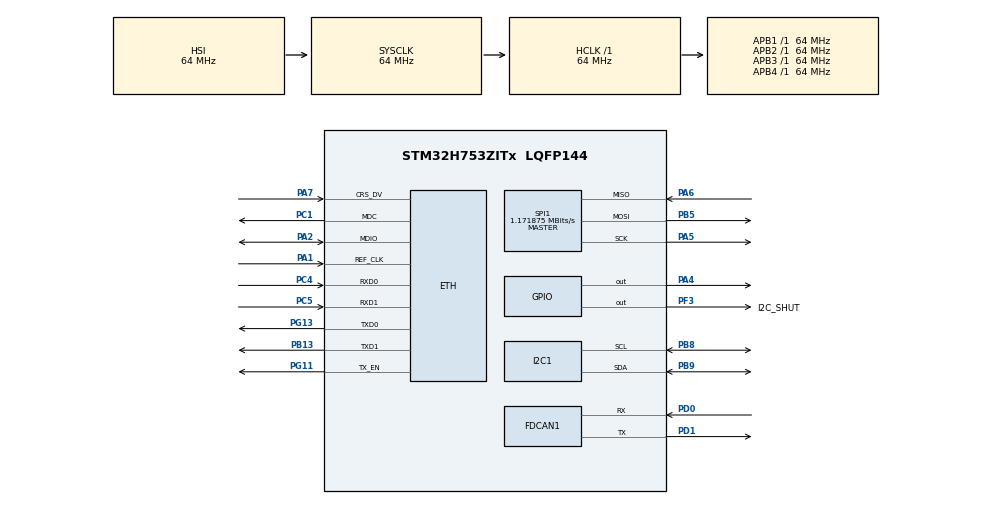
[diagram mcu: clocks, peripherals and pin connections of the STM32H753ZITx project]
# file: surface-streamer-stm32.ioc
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CORTEX_M7.AccessPermission_S-Cortex_Memory_Protection_Unit_Region1_Settings_S=MPU_REGION_FULL_ACCESS
CORTEX_M7.BaseAddress_S-Cortex_Memory_Protection_Unit_Region1_Settings_S=0x30000000
CORTEX_M7.CPU_DCache=Disabled
CORTEX_M7.CPU_ICache=Disabled
CORTEX_M7.DisableExec_S-Cortex_Memory_Protection_Unit_Region1_Settings_S=MPU_INSTRUCTION_ACCESS_DISABLE
CORTEX_M7.Enable_S-Cortex_Memory_Protection_Unit_Region1_Settings_S=MPU_REGION_ENABLE
CORTEX_M7.IsBufferable_S-Cortex_Memory_Protection_Unit_Region1_Settings_S=MPU_ACCESS_NOT_BUFFERABLE
CORTEX_M7.IsShareable_S-Cortex_Memory_Protection_Unit_Region1_Settings_S=MPU_ACCESS_SHAREABLE
CORTEX_M7.MPU_Control=MPU_PRIVILEGED_DEFAULT
CORTEX_M7.Size_S-Cortex_Memory_Protection_Unit_Region1_Settings_S=MPU_REGION_SIZE_32KB
CORTEX_M7.TypeExtField_S-Cortex_Memory_Protection_Unit_Region1_Settings_S=MPU_TEX_LEVEL1
CORTEX_M7.default_mode_Activation=1
ETH.MediaInterface=HAL_ETH_RMII_MODE
FDCAN1.CalculateBaudRateNominal=1562500
FDCAN1.CalculateTimeBitNominal=640
FDCAN1.CalculateTimeQuantumNominal=213.33333333333334
LWIP.BSP.number=1
LWIP.IP_ADDRESS=192.168.010.002
LWIP.LWIP_DHCP=0
LWIP.NETMASK_ADDRESS=255.255.255.000
LWIP.Version=v2.2.1_Cube
LWIP0.BSP.STBoard=false
LWIP0.BSP.api=BSP_COMPONENT_DRIVER
LWIP0.BSP.component=LAN8742
LWIP0.BSP.instance=LAN8742
LWIP0.BSP.name=Driver_PHY
LWIP0.BSP.semaphore=S_LAN8742
LWIP0.BSP.solution=LAN8742
Mcu.Family=STM32H7
Mcu.Name=STM32H753ZITx
Mcu.Package=LQFP144
NUCLEO-H753ZI.BUTTON=1
NUCLEO-H753ZI.LD1=true
NUCLEO-H753ZI.LD2=true
NUCLEO-H753ZI.LD3=true
NUCLEO-H753ZI.VCP=true
NVIC.EXTI15_10_IRQn=true\:0\:0\:false\:false\:true\:false\:true\:true
NVIC.PriorityGroup=NVIC_PRIORITYGROUP_4
PA1.Mode=RMII
PA1.Signal=ETH_REF_CLK
PA2.Mode=RMII
PA2.Signal=ETH_MDIO
PA4.PinState=GPIO_PIN_SET
PA4.Signal=GPIO_Output
PA5.Mode=Full_Duplex_Master
PA5.Signal=SPI1_SCK
PA6.Mode=Full_Duplex_Master
PA6.Signal=SPI1_MISO
PA7.Mode=RMII
PA7.Signal=ETH_CRS_DV
PB13.Mode=RMII
PB13.Signal=ETH_TXD1
PB5.Mode=Full_Duplex_Master
PB5.Signal=SPI1_MOSI
PB8.GPIO_Pu=GPIO_PULLUP
PB8.Mode=I2C
PB8.Signal=I2C1_SCL
PB9.GPIO_Pu=GPIO_PULLUP
PB9.Mode=I2C
PB9.Signal=I2C1_SDA
PC1.Mode=RMII
PC1.Signal=ETH_MDC
PC14-OSC32_IN\ (OSC32_IN).Signal=RCC_OSC32_IN
PC15-OSC32_OUT\ (OSC32_OUT).Signal=RCC_OSC32_OUT
PC4.Mode=RMII
PC4.Signal=ETH_RXD0
PC5.Mode=RMII
PC5.Signal=ETH_RXD1
PD0.Mode=FDCAN_Activate
PD0.Signal=FDCAN1_RX
PD1.Mode=FDCAN_Activate
PD1.Signal=FDCAN1_TX
PD8.Signal=USART3_TX
PD9.Signal=USART3_RX
PF3.GPIO_Label=I2C_SHUT
PF3.PinState=GPIO_PIN_SET
PF3.Signal=GPIO_Output
PG11.Mode=RMII
PG11.Signal=ETH_TX_EN
PG13.Mode=RMII
PG13.Signal=ETH_TXD0
PH0-OSC_IN\ (PH0).Signal=RCC_OSC_IN
PH1-OSC_OUT\ (PH1).Signal=RCC_OSC_OUT
ProjectManager.HeapSize=0x200
ProjectManager.StackSize=0x400
ProjectManager.TargetToolchain=CMake
RCC.ADCFreq_Value=129000000
RCC.APB1Freq_Value=64000000
RCC.APB2Freq_Value=64000000
RCC.APB3Freq_Value=64000000
RCC.APB4Freq_Value=64000000
RCC.CortexFreq_Value=64000000
RCC.DIVM1=4
RCC.DIVN1=9
RCC.HCLKFreq_Value=64000000
RCC.HSE_VALUE=8000000
RCC.PLLFRACN=3072
RCC.PWR_Regulator_Voltage_Scale=PWR_REGULATOR_VOLTAGE_SCALE2
RCC.SYSCLKFreq_VALUE=64000000
RCC.USBFreq_Value=75000000
SPI1.BaudRatePrescaler=SPI_BAUDRATEPRESCALER_64
SPI1.CalculateBaudRate=1.171875 MBits/s
SPI1.DataSize=SPI_DATASIZE_8BIT
SPI1.Direction=SPI_DIRECTION_2LINES
SPI1.Mode=SPI_MODE_MASTER
SPI1.VirtualType=VM_MASTER
VP_LWIP_VS_Enabled.Mode=Enabled
VP_MEMORYMAP_VS_MEMORYMAP.Mode=CurAppReg
VP_NUCLEO-H753ZI_VS_BSP_COMMON.Mode=COMMON
board=NUCLEO-H753ZI

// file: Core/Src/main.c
/* USER CODE BEGIN Header */
/**
  ******************************************************************************
  * @file           : main.c
  * @brief          : Main program body
  ******************************************************************************
  * @attention
  *
  * Copyright (c) 2026 STMicroelectronics.
  * All rights reserved.
  *
  * This software is licensed under terms that can be found in the LICENSE file
  * in the root directory of this software component.
  * If no LICENSE file comes with this software, it is provided AS-IS.
  *
  ******************************************************************************
  */
/* USER CODE END Header */
#include "main.h"
#include "lwip.h"

/* USER CODE BEGIN Includes */
#include <string.h>
#include <stdio.h>
#include "VL53L1X_api.h"
#include "bmi270_port.h"
#include "lwip/ip4_addr.h"
#include "lwip/udp.h"
#include "lwip/tcp.h"
extern struct netif gnetif;

/* USER CODE END Includes */

/* USER CODE BEGIN PFP */

static void TCP_Connect(void);
static void TCP_SendReady(void);
static void UDP_SendReady(void);

static err_t TCP_ConnectedCallback(
    void *arg,
    struct tcp_pcb *tpcb,
    err_t err
);

static err_t TCP_RecvCallback(
    void *arg,
    struct tcp_pcb *tpcb,
    struct pbuf *p,
    err_t err
);

static void TCP_ErrorCallback(
    void *arg,
    err_t err
);

/* USER CODE END PFP */

COM_InitTypeDef BspCOMInit;

FDCAN_HandleTypeDef hfdcan1;

I2C_HandleTypeDef hi2c1;

SPI_HandleTypeDef hspi1;

/* USER CODE BEGIN PV */
uint8_t vl53_status = 0;
int8_t bmi270_rslt;

struct bmi2_dev bmi270_dev;
static struct udp_pcb *udp_pcb;
static struct tcp_pcb *tcp_pcb;

static uint8_t tcp_connected = 0;
static FDCAN_RxHeaderTypeDef canRxHeader;
static uint8_t canRxData[8];

typedef struct
{
    uint8_t detected;

    int16_t acc_x;
    int16_t acc_y;
    int16_t acc_z;

    int16_t gyr_x;
    int16_t gyr_y;
    int16_t gyr_z;

    uint32_t sample_count;
    uint32_t error_count;
    uint32_t last_sample_ms;
} BMI270_State;

static BMI270_State bmi270_state = {0};

typedef struct
{
    uint8_t detected;

    uint16_t distance_mm;

    uint32_t sample_count;
    uint32_t error_count;
    uint32_t last_sample_ms;
} VL53L1X_State;

static VL53L1X_State vl53l1x_state = {0};

/* USER CODE END PV */

void SystemClock_Config(void);
static void MPU_Config(void);
static void MX_GPIO_Init(void);
static void MX_I2C1_Init(void);
static void MX_SPI1_Init(void);
static void MX_FDCAN1_Init(void);

/* USER CODE BEGIN 0 */

static int I2C_SensorDetected(void)
{
  hi2c1.Instance->ICR =
      I2C_ICR_NACKCF |
      I2C_ICR_STOPCF |
      I2C_ICR_BERRCF |
      I2C_ICR_ARLOCF;

  hi2c1.Instance->CR2 =
      (0x29 << 1) |
      I2C_CR2_AUTOEND |
      I2C_CR2_START;

  HAL_Delay(2);

  uint32_t isr = hi2c1.Instance->ISR;
  int detected = ((isr & I2C_ISR_NACKF) == 0);

  hi2c1.Instance->ICR =
      I2C_ICR_NACKCF |
      I2C_ICR_STOPCF |
      I2C_ICR_BERRCF |
      I2C_ICR_ARLOCF;

  return detected;
}

static int8_t BMI270_EnableAccelGyro(void)
{
    int8_t rslt;
    uint8_t sensors[2] = {
        BMI2_ACCEL,
        BMI2_GYRO
    };

    rslt = bmi2_sensor_enable(
        sensors,
        2,
        &bmi270_dev
    );

    return rslt;
}

static void VL53L1X_Update(void)
{
    uint16_t distance = 0;
    uint8_t dataReady = 0;

    if (!I2C_SensorDetected())
    {
        vl53l1x_state.detected = 0;
        vl53l1x_state.error_count++;
        vl53l1x_state.last_sample_ms = HAL_GetTick();
        return;
    }

    vl53l1x_state.detected = 1;

    if (vl53_status &&
        VL53L1X_CheckForDataReady(
            0x52,
            &dataReady
        ) == 0 &&
        dataReady)
    {
        if (VL53L1X_GetDistance(
                0x52,
                &distance
            ) == 0)
        {
            VL53L1X_ClearInterrupt(0x52);

            vl53l1x_state.distance_mm = distance;
            vl53l1x_state.sample_count++;
        }
        else
        {
            vl53l1x_state.error_count++;
        }
    }

    vl53l1x_state.last_sample_ms = HAL_GetTick();
}

static void BMI270_Update(void)
{
    struct bmi2_sens_data sensor_data;

    int8_t rslt = bmi2_get_sensor_data(
        &sensor_data,
        &bmi270_dev
    );

    if (rslt == BMI2_OK)
    {
        bmi270_state.acc_x = sensor_data.acc.x;
        bmi270_state.acc_y = sensor_data.acc.y;
        bmi270_state.acc_z = sensor_data.acc.z;

        bmi270_state.gyr_x = sensor_data.gyr.x;
        bmi270_state.gyr_y = sensor_data.gyr.y;
        bmi270_state.gyr_z = sensor_data.gyr.z;

        bmi270_state.sample_count++;
        bmi270_state.detected = 1;
    }
    else
    {
        bmi270_state.error_count++;
        bmi270_state.detected = 0;
    }

    bmi270_state.last_sample_ms = HAL_GetTick();
}
/* USER CODE END 0 */
int main(void)
{

  /* MPU Configuration--------------------------------------------------------*/
  MPU_Config();

  /* MCU Configuration--------------------------------------------------------*/

  /* Reset of all peripherals, Initializes the Flash interface and the Systick. */
  HAL_Init();

  /* Configure the system clock */
  SystemClock_Config();

  /* Initialize all configured peripherals */
  MX_GPIO_Init();
  MX_I2C1_Init();
  MX_SPI1_Init();
  MX_LWIP_Init();
  MX_FDCAN1_Init();
  /* USER CODE BEGIN 2 */

  bmi270_rslt = bmi270_stm32_interface_init(&bmi270_dev);

  if (bmi270_rslt == BMI2_OK)
  {
      bmi270_rslt = bmi270_init(&bmi270_dev);

      if (bmi270_rslt == BMI2_OK)
      {
          bmi270_rslt = BMI270_EnableAccelGyro();
      }
  }

  if (bmi270_rslt == BMI2_OK)
	{
			bmi270_state.detected = 1;
	}

  if (VL53L1X_SensorInit(0x52) == 0)
  {
      if (VL53L1X_StartRanging(0x52) == 0)
      {
          vl53_status = 1;
      }
  }

  /* USER CODE END 2 */

  /* Initialize leds */
  BSP_LED_Init(LED_GREEN);
  BSP_LED_Init(LED_YELLOW);
  BSP_LED_Init(LED_RED);

  /* Initialize USER push-button, will be used to trigger an interrupt each time it's pressed.*/
  BSP_PB_Init(BUTTON_USER, BUTTON_MODE_EXTI);

  /* Initialize COM1 port (115200, 8 bits (7-bit data + 1 stop bit), no parity */
  BspCOMInit.BaudRate   = 115200;
  BspCOMInit.WordLength = COM_WORDLENGTH_8B;
  BspCOMInit.StopBits   = COM_STOPBITS_1;
  BspCOMInit.Parity     = COM_PARITY_NONE;
  BspCOMInit.HwFlowCtl  = COM_HWCONTROL_NONE;
  if (BSP_COM_Init(COM1, &BspCOMInit) != BSP_ERROR_NONE)
  {
    Error_Handler();
  }

  /* Infinite loop */
  while (1)
  {

    /* USER CODE BEGIN 3 */

    MX_LWIP_Process();

		/*
		* Autonomous BMI270 acquisition.
		*
		* The STM32 samples the IMU independently of Python.
		* Existing SPI_DATA command remains available as the
		* legacy Python-polled acquisition path.
		*/
		static uint32_t lastBmi270Tick = 0;

		uint32_t now = HAL_GetTick();

		if ((now - lastBmi270Tick) >= 10)
		{
            lastBmi270Tick = now;

            if (bmi270_rslt == BMI2_OK)
            {
                BMI270_Update();
            }
        }
        /*
        * Publish cached BMI270 state to the host.
        *
        * Acquisition runs independently at ~100 Hz.
        * Telemetry is intentionally slower (~10 Hz).
        */
        static uint32_t lastBmi270TelemetryTick = 0;

        if ((now - lastBmi270TelemetryTick) >= 100)
        {
            lastBmi270TelemetryTick = now;

            char msg[160];

            snprintf(
                msg,
                sizeof(msg),
                "BMI270_TELEM %s SAMPLES=%lu ERRORS=%lu AGE=%lu "
                "ACC=%d,%d,%d GYR=%d,%d,%d\r\n",
                bmi270_state.detected ? "ONLINE" : "OFFLINE",
                (unsigned long)bmi270_state.sample_count,
                (unsigned long)bmi270_state.error_count,
                (unsigned long)(now - bmi270_state.last_sample_ms),
                bmi270_state.acc_x,
                bmi270_state.acc_y,
                bmi270_state.acc_z,
                bmi270_state.gyr_x,
                bmi270_state.gyr_y,
                bmi270_state.gyr_z
            );

            HAL_UART_Transmit(
                &hcom_uart[COM1],
                (uint8_t *)msg,
                strlen(msg),
                HAL_MAX_DELAY
            );
        }

        /*
        * Autonomous VL53L1X acquisition.
        *
        * The STM32 monitors the range sensor independently
        * of Python. Existing I2C_STATUS remains available
        * as the legacy Python-polled path.
        */
        static uint32_t lastVl53l1xTick = 0;

        if (0 && (now - lastVl53l1xTick) >= 100)
        {
            lastVl53l1xTick = now;

            VL53L1X_Update();
        }

    static uint32_t lastUartReadyTick = 0;

    if (HAL_GetTick() - lastUartReadyTick >= 1000)
    {
        const char *msg = "UART_READY\r\n";

        HAL_UART_Transmit(
            &hcom_uart[COM1],
            (uint8_t *)msg,
            strlen(msg),
            HAL_MAX_DELAY
        );

        lastUartReadyTick = HAL_GetTick();
    }

    if (HAL_FDCAN_GetRxFifoFillLevel(&hfdcan1, FDCAN_RX_FIFO0) > 0)
    {
    if (HAL_FDCAN_GetRxMessage(
            &hfdcan1,
            FDCAN_RX_FIFO0,
            &canRxHeader,
            canRxData) == HAL_OK)
    {
        char msg[96];

        snprintf(
            msg,
            sizeof(msg),
            "CAN_RX 0x%03lX",
            canRxHeader.Identifier
        );

        size_t len = strlen(msg);

        for (uint32_t i = 0;
            i < (canRxHeader.DataLength >> 16) && i < 8;
            i++)
        {
        len += snprintf(
            msg + len,
            sizeof(msg) - len,
            " %02X",
            canRxData[i]
        );
        }

        snprintf(
            msg + len,
            sizeof(msg) - len,
            "\r\n"
        );

        HAL_UART_Transmit(
            &hcom_uart[COM1],
            (uint8_t *)msg,
            strlen(msg),
            HAL_MAX_DELAY
        );
    }
    }

    static uint32_t lastCanDiagTick = 0;

    if (HAL_GetTick() - lastCanDiagTick >= 1000)
    {
    FDCAN_ProtocolStatusTypeDef protocolStatus;
    char msg[96];

    uint32_t fifoLevel =
        HAL_FDCAN_GetRxFifoFillLevel(&hfdcan1, FDCAN_RX_FIFO0);

    if (HAL_FDCAN_GetProtocolStatus(
            &hfdcan1,
            &protocolStatus) == HAL_OK)
    {
        snprintf(
            msg,
            sizeof(msg),
            "CAN_DIAG FIFO0=%lu LEC=%lu DLEC=%lu BUSOFF=%lu\r\n",
            fifoLevel,
            (uint32_t)protocolStatus.LastErrorCode,
            (uint32_t)protocolStatus.DataLastErrorCode,
            (uint32_t)protocolStatus.BusOff
        );

        HAL_UART_Transmit(
            &hcom_uart[COM1],
            (uint8_t *)msg,
            strlen(msg),
            HAL_MAX_DELAY
        );
    }

    lastCanDiagTick = HAL_GetTick();
    }

    static uint32_t lastUdpReadyTick = 0;
    static uint32_t lastTcpReadyTick = 0;

    if (HAL_GetTick() - lastUdpReadyTick >= 1000)
    {
        UDP_SendReady();
        lastUdpReadyTick = HAL_GetTick();
    }

    if (HAL_GetTick() - lastTcpReadyTick >= 1000)
    {
        TCP_SendReady();
        lastTcpReadyTick = HAL_GetTick();
    }

    static uint8_t rxByte;
    static char rxBuf[32];
    static char debugMsg[64];
    static uint32_t rxIndex = 0;

    if (HAL_UART_Receive(
            &hcom_uart[COM1],
            &rxByte,
            1,
            10) == HAL_OK)
    {
      if (rxByte == '\r' || rxByte == '\n')
      {
        if (rxIndex > 0)
        {
          rxBuf[rxIndex] = '\0';

          snprintf(
              debugMsg,
              sizeof(debugMsg),
              "UART_CMD [%s]\r\n",
              rxBuf
          );

          HAL_UART_Transmit(
              &hcom_uart[COM1],
              (uint8_t *)debugMsg,
              strlen(debugMsg),
              HAL_MAX_DELAY
          );

          if (strcmp(rxBuf, "PING") == 0)
          {
            static const char reply[] =
                "SURFACE_STREAMER_READY\r\n";

            HAL_UART_Transmit(
                &hcom_uart[COM1],
                (uint8_t *)reply,
                sizeof(reply) - 1,
                HAL_MAX_DELAY
            );
          }
          else if (strcmp(rxBuf, "STM32_STATUS") == 0)
          {
              static const char reply[] =
                  "STM32_READY NUCLEO-H753ZI\r\n";

              HAL_UART_Transmit(
                  &hcom_uart[COM1],
                  (uint8_t *)reply,
                  sizeof(reply) - 1,
                  HAL_MAX_DELAY
              );
          }
          else if (strcmp(rxBuf, "I2C_STATUS") == 0)
          {
              if (I2C_SensorDetected())
              {
                  uint16_t distance = 0;
                  uint8_t dataReady = 0;
                  char reply[64];

                  if (vl53_status &&
                      VL53L1X_CheckForDataReady(0x52, &dataReady) == 0 &&
                      dataReady &&
                      VL53L1X_GetDistance(0x52, &distance) == 0)
                  {
                      VL53L1X_ClearInterrupt(0x52);

                      snprintf(
                          reply,
                          sizeof(reply),
                          "I2C_READY %u\r\n",
                          distance
                      );
                  }
                  else
                  {
                      snprintf(
                          reply,
                          sizeof(reply),
                          "I2C_READY\r\n"
                      );
                  }

                  HAL_UART_Transmit(
                      &hcom_uart[COM1],
                      (uint8_t *)reply,
                      strlen(reply),
                      HAL_MAX_DELAY
                  );
              }
              else
              {
                  static const char reply[] =
                      "I2C_NOT_DETECTED\r\n";

                  HAL_UART_Transmit(
                      &hcom_uart[COM1],
                      (uint8_t *)reply,
                      sizeof(reply) - 1,
                      HAL_MAX_DELAY
                  );
              }
          }

          else if (strcmp(rxBuf, "SPI_STATUS") == 0)
          {
              char reply[64];

              if (bmi270_rslt == BMI2_OK)
              {
                  snprintf(
                      reply,
                      sizeof(reply),
                      "SPI_CHIP_ID 0x24\r\n"
                  );
              }
              else
              {
                snprintf(
                    reply,
                    sizeof(reply),
                    "SPI_NOT_DETECTED %d CHIP_ID 0x%02X\r\n",
                    bmi270_rslt,
                    bmi270_dev.chip_id
                );
              }

              HAL_UART_Transmit(
                  &hcom_uart[COM1],
                  (uint8_t *)reply,
                  strlen(reply),
                  HAL_MAX_DELAY
              );
          }
          else if (strcmp(rxBuf, "SPI_DATA") == 0)
          {
              struct bmi2_sens_data sensor_data;
              char reply[128];

              int8_t rslt = bmi2_get_sensor_data(
                  &sensor_data,
                  &bmi270_dev
              );

              if (rslt == BMI2_OK)
              {
                  snprintf(
                      reply,
                      sizeof(reply),
                      "ACC %d %d %d GYR %d %d %d\r\n",
                      sensor_data.acc.x,
                      sensor_data.acc.y,
                      sensor_data.acc.z,
                      sensor_data.gyr.x,
                      sensor_data.gyr.y,
                      sensor_data.gyr.z
                  );
              }
              else
              {
                  snprintf(
                      reply,
                      sizeof(reply),
                      "SPI_DATA_ERROR %d\r\n",
                      rslt
                  );
              }

              HAL_UART_Transmit(
                  &hcom_uart[COM1],
                  (uint8_t *)reply,
                  strlen(reply),
                  HAL_MAX_DELAY
              );
          }
					else if (strcmp(rxBuf, "BMI270_STATE") == 0)
					{
							char reply[160];

							uint32_t age =
									HAL_GetTick() - bmi270_state.last_sample_ms;

							snprintf(
									reply,
									sizeof(reply),
									"BMI270_STATE %s SAMPLES=%lu ERRORS=%lu AGE=%lu "
									"ACC=%d,%d,%d GYR=%d,%d,%d\r\n",
									bmi270_state.detected ? "ONLINE" : "OFFLINE",
									(unsigned long)bmi270_state.sample_count,
									(unsigned long)bmi270_state.error_count,
									(unsigned long)age,
									bmi270_state.acc_x,
									bmi270_state.acc_y,
									bmi270_state.acc_z,
									bmi270_state.gyr_x,
									bmi270_state.gyr_y,
									bmi270_state.gyr_z
							);

							HAL_UART_Transmit(
									&hcom_uart[COM1],
									(uint8_t *)reply,
									strlen(reply),
									HAL_MAX_DELAY
							);
					}
          else if (strcmp(rxBuf, "ETH_STATUS") == 0)
          {
              char msg[64];

              if (gnetif.ip_addr.addr != 0)
              {
                  snprintf(
                      msg,
                      sizeof(msg),
                      "ETH_IP %s %s\r\n",
                      ip4addr_ntoa(netif_ip4_addr(&gnetif)),
                      netif_is_link_up(&gnetif) ? "LINK_UP" : "LINK_DOWN"
                  );
              }
              else
              {
                  snprintf(msg, sizeof(msg), "ETH_NO_IP\r\n");
              }

              HAL_UART_Transmit(
                  &hcom_uart[COM1],
                  (uint8_t *)msg,
                  strlen(msg),
                  HAL_MAX_DELAY
              );
          }
          rxIndex = 0;
        }
      }
      else if (rxIndex < sizeof(rxBuf) - 1)
      {
        rxBuf[rxIndex++] = (char)rxByte;
      }
    }
  }
  /* USER CODE END 3 */
}

void SystemClock_Config(void)
{
  RCC_OscInitTypeDef RCC_OscInitStruct = {0};
  RCC_ClkInitTypeDef RCC_ClkInitStruct = {0};

  /** Supply configuration update enable
  */
  HAL_PWREx_ConfigSupply(PWR_LDO_SUPPLY);

  /** Configure the main internal regulator output voltage
  */
  __HAL_PWR_VOLTAGESCALING_CONFIG(PWR_REGULATOR_VOLTAGE_SCALE2);

  while(!__HAL_PWR_GET_FLAG(PWR_FLAG_VOSRDY)) {}

  /** Initializes the RCC Oscillators according to the specified parameters
  * in the RCC_OscInitTypeDef structure.
  */
  RCC_OscInitStruct.OscillatorType = RCC_OSCILLATORTYPE_HSI;
  RCC_OscInitStruct.HSIState = RCC_HSI_DIV1;
  RCC_OscInitStruct.HSICalibrationValue = RCC_HSICALIBRATION_DEFAULT;
  RCC_OscInitStruct.PLL.PLLState = RCC_PLL_ON;
  RCC_OscInitStruct.PLL.PLLSource = RCC_PLLSOURCE_HSI;
  RCC_OscInitStruct.PLL.PLLM = 4;
  RCC_OscInitStruct.PLL.PLLN = 9;
  RCC_OscInitStruct.PLL.PLLP = 2;
  RCC_OscInitStruct.PLL.PLLQ = 2;
  RCC_OscInitStruct.PLL.PLLR = 2;
  RCC_OscInitStruct.PLL.PLLRGE = RCC_PLL1VCIRANGE_3;
  RCC_OscInitStruct.PLL.PLLVCOSEL = RCC_PLL1VCOMEDIUM;
  RCC_OscInitStruct.PLL.PLLFRACN = 3072;
  if (HAL_RCC_OscConfig(&RCC_OscInitStruct) != HAL_OK)
  {
    Error_Handler();
  }

  /** Initializes the CPU, AHB and APB buses clocks
  */
  RCC_ClkInitStruct.ClockType = RCC_CLOCKTYPE_HCLK|RCC_CLOCKTYPE_SYSCLK
                              |RCC_CLOCKTYPE_PCLK1|RCC_CLOCKTYPE_PCLK2
                              |RCC_CLOCKTYPE_D3PCLK1|RCC_CLOCKTYPE_D1PCLK1;
  RCC_ClkInitStruct.SYSCLKSource = RCC_SYSCLKSOURCE_HSI;
  RCC_ClkInitStruct.SYSCLKDivider = RCC_SYSCLK_DIV1;
  RCC_ClkInitStruct.AHBCLKDivider = RCC_HCLK_DIV1;
  RCC_ClkInitStruct.APB3CLKDivider = RCC_APB3_DIV1;
  RCC_ClkInitStruct.APB1CLKDivider = RCC_APB1_DIV1;
  RCC_ClkInitStruct.APB2CLKDivider = RCC_APB2_DIV1;
  RCC_ClkInitStruct.APB4CLKDivider = RCC_APB4_DIV1;

  if (HAL_RCC_ClockConfig(&RCC_ClkInitStruct, FLASH_LATENCY_1) != HAL_OK)
  {
    Error_Handler();
  }
}

static void MX_FDCAN1_Init(void)
{

  hfdcan1.Instance = FDCAN1;
  hfdcan1.Init.FrameFormat = FDCAN_FRAME_CLASSIC;
  hfdcan1.Init.Mode = FDCAN_MODE_NORMAL;
  hfdcan1.Init.AutoRetransmission = DISABLE;
  hfdcan1.Init.TransmitPause = DISABLE;
  hfdcan1.Init.ProtocolException = DISABLE;

  /* 75 MHz FDCAN clock / 10 / (1 + 11 + 3) = 500 kbit/s */
  hfdcan1.Init.NominalPrescaler = 10;
  hfdcan1.Init.NominalSyncJumpWidth = 3;
  hfdcan1.Init.NominalTimeSeg1 = 11;
  hfdcan1.Init.NominalTimeSeg2 = 3;

  /* Not used for Classic CAN, but required initialization fields */
  hfdcan1.Init.DataPrescaler = 1;
  hfdcan1.Init.DataSyncJumpWidth = 1;
  hfdcan1.Init.DataTimeSeg1 = 1;
  hfdcan1.Init.DataTimeSeg2 = 1;

  hfdcan1.Init.MessageRAMOffset = 0;
  hfdcan1.Init.StdFiltersNbr = 1;
  hfdcan1.Init.ExtFiltersNbr = 0;

  hfdcan1.Init.RxFifo0ElmtsNbr = 3;
  hfdcan1.Init.RxFifo0ElmtSize = FDCAN_DATA_BYTES_8;
  hfdcan1.Init.RxFifo1ElmtsNbr = 0;
  hfdcan1.Init.RxFifo1ElmtSize = FDCAN_DATA_BYTES_8;
  hfdcan1.Init.RxBuffersNbr = 0;
  hfdcan1.Init.RxBufferSize = FDCAN_DATA_BYTES_8;

  hfdcan1.Init.TxEventsNbr = 0;
  hfdcan1.Init.TxBuffersNbr = 0;
  hfdcan1.Init.TxFifoQueueElmtsNbr = 3;
  hfdcan1.Init.TxFifoQueueMode = FDCAN_TX_FIFO_OPERATION;
  hfdcan1.Init.TxElmtSize = FDCAN_DATA_BYTES_8;

  if (HAL_FDCAN_Init(&hfdcan1) != HAL_OK)
  {
    Error_Handler();
  }

  /* USER CODE BEGIN FDCAN1_Init 2 */

  FDCAN_FilterTypeDef sFilterConfig = {0};

  /* Accept all standard CAN IDs into RX FIFO0 */
  sFilterConfig.IdType = FDCAN_STANDARD_ID;
  sFilterConfig.FilterIndex = 0;
  sFilterConfig.FilterType = FDCAN_FILTER_MASK;
  sFilterConfig.FilterConfig = FDCAN_FILTER_TO_RXFIFO0;
  sFilterConfig.FilterID1 = 0x000;
  sFilterConfig.FilterID2 = 0x000;

  if (HAL_FDCAN_ConfigFilter(&hfdcan1, &sFilterConfig) != HAL_OK)
  {
    Error_Handler();
  }

  if (HAL_FDCAN_Start(&hfdcan1) != HAL_OK)
  {
    Error_Handler();
  }

  /* USER CODE END FDCAN1_Init 2 */
}

static void MX_I2C1_Init(void)
{

  hi2c1.Instance = I2C1;
  hi2c1.Init.Timing = 0x10707DBC;
  hi2c1.Init.OwnAddress1 = 0;
  hi2c1.Init.AddressingMode = I2C_ADDRESSINGMODE_7BIT;
  hi2c1.Init.DualAddressMode = I2C_DUALADDRESS_DISABLE;
  hi2c1.Init.OwnAddress2 = 0;
  hi2c1.Init.OwnAddress2Masks = I2C_OA2_NOMASK;
  hi2c1.Init.GeneralCallMode = I2C_GENERALCALL_DISABLE;
  hi2c1.Init.NoStretchMode = I2C_NOSTRETCH_DISABLE;
  if (HAL_I2C_Init(&hi2c1) != HAL_OK)
  {
    Error_Handler();
  }

  /** Configure Analogue filter
  */
  if (HAL_I2CEx_ConfigAnalogFilter(&hi2c1, I2C_ANALOGFILTER_ENABLE) != HAL_OK)
  {
    Error_Handler();
  }

  /** Configure Digital filter
  */
  if (HAL_I2CEx_ConfigDigitalFilter(&hi2c1, 0) != HAL_OK)
  {
    Error_Handler();
  }

}

static void MX_SPI1_Init(void)
{

  /* SPI1 parameter configuration*/
  hspi1.Instance = SPI1;
  hspi1.Init.Mode = SPI_MODE_MASTER;
  hspi1.Init.Direction = SPI_DIRECTION_2LINES;
  hspi1.Init.DataSize = SPI_DATASIZE_8BIT;
  hspi1.Init.CLKPolarity = SPI_POLARITY_LOW;
  hspi1.Init.CLKPhase = SPI_PHASE_1EDGE;
  hspi1.Init.NSS = SPI_NSS_SOFT;
  hspi1.Init.BaudRatePrescaler = SPI_BAUDRATEPRESCALER_64;
  hspi1.Init.FirstBit = SPI_FIRSTBIT_MSB;
  hspi1.Init.TIMode = SPI_TIMODE_DISABLE;
  hspi1.Init.CRCCalculation = SPI_CRCCALCULATION_DISABLE;
  hspi1.Init.CRCPolynomial = 0x0;
  hspi1.Init.NSSPMode = SPI_NSS_PULSE_ENABLE;
  hspi1.Init.NSSPolarity = SPI_NSS_POLARITY_LOW;
  hspi1.Init.FifoThreshold = SPI_FIFO_THRESHOLD_01DATA;
  hspi1.Init.TxCRCInitializationPattern = SPI_CRC_INITIALIZATION_ALL_ZERO_PATTERN;
  hspi1.Init.RxCRCInitializationPattern = SPI_CRC_INITIALIZATION_ALL_ZERO_PATTERN;
  hspi1.Init.MasterSSIdleness = SPI_MASTER_SS_IDLENESS_00CYCLE;
  hspi1.Init.MasterInterDataIdleness = SPI_MASTER_INTERDATA_IDLENESS_00CYCLE;
  hspi1.Init.MasterReceiverAutoSusp = SPI_MASTER_RX_AUTOSUSP_DISABLE;
  hspi1.Init.MasterKeepIOState = SPI_MASTER_KEEP_IO_STATE_DISABLE;
  hspi1.Init.IOSwap = SPI_IO_SWAP_DISABLE;
  if (HAL_SPI_Init(&hspi1) != HAL_OK)
  {
    Error_Handler();
  }

}

static void MX_GPIO_Init(void)
{
  GPIO_InitTypeDef GPIO_InitStruct = {0};

  /* GPIO Ports Clock Enable */
  __HAL_RCC_GPIOC_CLK_ENABLE();
  __HAL_RCC_GPIOF_CLK_ENABLE();
  __HAL_RCC_GPIOH_CLK_ENABLE();
  __HAL_RCC_GPIOA_CLK_ENABLE();
  __HAL_RCC_GPIOB_CLK_ENABLE();
  __HAL_RCC_GPIOD_CLK_ENABLE();
  __HAL_RCC_GPIOG_CLK_ENABLE();

  /*Configure GPIO pin Output Level */
  HAL_GPIO_WritePin(I2C_SHUT_GPIO_Port, I2C_SHUT_Pin, GPIO_PIN_SET);

  /*Configure GPIO pin Output Level */
  HAL_GPIO_WritePin(GPIOA, GPIO_PIN_4, GPIO_PIN_SET);

  /*Configure GPIO pin : I2C_SHUT_Pin */
  GPIO_InitStruct.Pin = I2C_SHUT_Pin;
  GPIO_InitStruct.Mode = GPIO_MODE_OUTPUT_PP;
  GPIO_InitStruct.Pull = GPIO_NOPULL;
  GPIO_InitStruct.Speed = GPIO_SPEED_FREQ_LOW;
  HAL_GPIO_Init(I2C_SHUT_GPIO_Port, &GPIO_InitStruct);

  /*Configure GPIO pin : PA4 */
  GPIO_InitStruct.Pin = GPIO_PIN_4;
  GPIO_InitStruct.Mode = GPIO_MODE_OUTPUT_PP;
  GPIO_InitStruct.Pull = GPIO_NOPULL;
  GPIO_InitStruct.Speed = GPIO_SPEED_FREQ_LOW;
  HAL_GPIO_Init(GPIOA, &GPIO_InitStruct);

}

/* USER CODE BEGIN 4 */

static void UDP_SendReady(void)
{
    ip_addr_t dest_ip;
    struct pbuf *p;
    const char *msg = "STM32_UDP_READY";

    IP4_ADDR(&dest_ip, 192, 168, 10, 1);

    if (udp_pcb == NULL)
    {
        udp_pcb = udp_new();
    }

    if (udp_pcb == NULL)
    {
        return;
    }

    p = pbuf_alloc(PBUF_TRANSPORT, strlen(msg), PBUF_RAM);

    if (p == NULL)
    {
        return;
    }

    memcpy(p->payload, msg, strlen(msg));

    err_t err;

    err = udp_sendto(
        udp_pcb,
        p,
        &dest_ip,
        10000
    );

    char msg2[32];

  snprintf(
      msg2,
      sizeof(msg2),
      "UDP_SEND %d\r\n",
      (int)err
  );

  HAL_UART_Transmit(
      &hcom_uart[COM1],
      (uint8_t *)msg2,
      strlen(msg2),
      HAL_MAX_DELAY
  );

    pbuf_free(p);
}

static err_t TCP_ConnectedCallback(
    void *arg,
    struct tcp_pcb *tpcb,
    err_t err)
{
    if (err == ERR_OK)
    {
        tcp_connected = 1;

        tcp_recv(
            tpcb,
            TCP_RecvCallback
        );

        static const char msg[] =
            "TCP_CONNECTED\r\n";

        HAL_UART_Transmit(
            &hcom_uart[COM1],
            (uint8_t *)msg,
            sizeof(msg) - 1,
            HAL_MAX_DELAY
        );
    }

    return err;
}
static err_t TCP_RecvCallback(
    void *arg,
    struct tcp_pcb *tpcb,
    struct pbuf *p,
    err_t err)
{
    /*
     * p == NULL means the remote side closed
     * the TCP connection normally.
     */
    if (p == NULL)
    {
        tcp_connected = 0;
        tcp_pcb = NULL;

        tcp_close(tpcb);

        static const char msg[] =
            "TCP_CLOSED\r\n";

        HAL_UART_Transmit(
            &hcom_uart[COM1],
            (uint8_t *)msg,
            sizeof(msg) - 1,
            HAL_MAX_DELAY
        );

        return ERR_OK;
    }

    /*
     * We do not currently expect commands from
     * the PC, but acknowledge and discard anything
     * received.
     */
    tcp_recved(
        tpcb,
        p->tot_len
    );

    pbuf_free(p);

    return ERR_OK;
}

static void TCP_ErrorCallback(
    void *arg,
    err_t err)
{
    tcp_pcb = NULL;
    tcp_connected = 0;

    char msg[32];

    snprintf(
        msg,
        sizeof(msg),
        "TCP_ERROR %d\r\n",
        (int)err
    );

    HAL_UART_Transmit(
        &hcom_uart[COM1],
        (uint8_t *)msg,
        strlen(msg),
        HAL_MAX_DELAY
    );
}

static void TCP_Connect(void)
{
    ip_addr_t dest_ip;

    if (tcp_pcb != NULL)
    {
        return;
    }

    tcp_pcb = tcp_new();

    if (tcp_pcb == NULL)
    {
        return;
    }

    tcp_err(
        tcp_pcb,
        TCP_ErrorCallback
    );

    IP4_ADDR(
        &dest_ip,
        192,
        168,
        10,
        1
    );

    err_t err = tcp_connect(
        tcp_pcb,
        &dest_ip,
        10001,
        TCP_ConnectedCallback
    );

    if (err != ERR_OK)
    {
        char msg[32];

        snprintf(
            msg,
            sizeof(msg),
            "TCP_CONNECT %d\r\n",
            (int)err
        );

        HAL_UART_Transmit(
            &hcom_uart[COM1],
            (uint8_t *)msg,
            strlen(msg),
            HAL_MAX_DELAY
        );

        tcp_abort(tcp_pcb);
        tcp_pcb = NULL;
        tcp_connected = 0;
    }
}

static void TCP_SendReady(void)
{
    const char *msg =
        "STM32_TCP_READY";

    if (!tcp_connected ||
        tcp_pcb == NULL)
    {
        TCP_Connect();
        return;
    }

    err_t err = tcp_write(
        tcp_pcb,
        msg,
        strlen(msg),
        TCP_WRITE_FLAG_COPY
    );

    if (err == ERR_OK)
    {
        err = tcp_output(tcp_pcb);
    }

    char msg2[32];

    snprintf(
        msg2,
        sizeof(msg2),
        "TCP_SEND %d\r\n",
        (int)err
    );

    HAL_UART_Transmit(
        &hcom_uart[COM1],
        (uint8_t *)msg2,
        strlen(msg2),
        HAL_MAX_DELAY
    );
}

/* USER CODE END 4 */

 /* MPU Configuration */

void MPU_Config(void)
{
  MPU_Region_InitTypeDef MPU_InitStruct = {0};

  /* Disables the MPU */
  HAL_MPU_Disable();

  /** Initializes and configures the Region and the memory to be protected
  */
  MPU_InitStruct.Enable = MPU_REGION_ENABLE;
  MPU_InitStruct.Number = MPU_REGION_NUMBER0;
  MPU_InitStruct.BaseAddress = 0x0;
  MPU_InitStruct.Size = MPU_REGION_SIZE_4GB;
  MPU_InitStruct.SubRegionDisable = 0x87;
  MPU_InitStruct.TypeExtField = MPU_TEX_LEVEL0;
  MPU_InitStruct.AccessPermission = MPU_REGION_NO_ACCESS;
  MPU_InitStruct.DisableExec = MPU_INSTRUCTION_ACCESS_DISABLE;
  MPU_InitStruct.IsShareable = MPU_ACCESS_SHAREABLE;
  MPU_InitStruct.IsCacheable = MPU_ACCESS_NOT_CACHEABLE;
  MPU_InitStruct.IsBufferable = MPU_ACCESS_NOT_BUFFERABLE;

  HAL_MPU_ConfigRegion(&MPU_InitStruct);

  /** Initializes and configures the Region and the memory to be protected
  */
  MPU_InitStruct.Number = MPU_REGION_NUMBER1;
  MPU_InitStruct.BaseAddress = 0x30000000;
  MPU_InitStruct.Size = MPU_REGION_SIZE_32KB;
  MPU_InitStruct.SubRegionDisable = 0x0;
  MPU_InitStruct.TypeExtField = MPU_TEX_LEVEL1;
  MPU_InitStruct.AccessPermission = MPU_REGION_FULL_ACCESS;

  HAL_MPU_ConfigRegion(&MPU_InitStruct);
  /* Enables the MPU */
  HAL_MPU_Enable(MPU_PRIVILEGED_DEFAULT);

}

void Error_Handler(void)
{
  __disable_irq();
  while (1)
  {
  }
}
